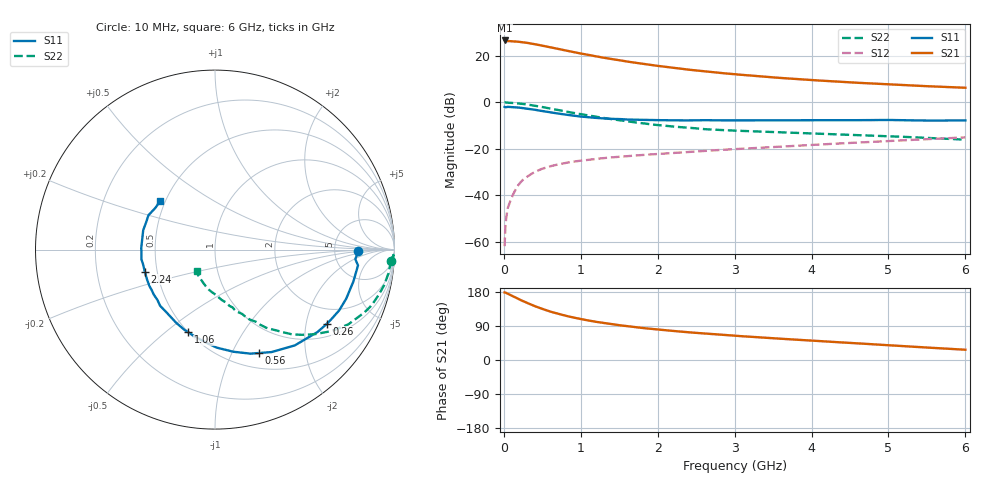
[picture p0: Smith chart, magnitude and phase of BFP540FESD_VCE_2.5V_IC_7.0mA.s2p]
! Infineon Technologies  Discrete & RF Semiconductors
! BFP540FESD
! VCE =  2.5 V,  IC =  7.0 mA
! Common Emitter S-Parameters:  Nov 2015
# GHz  S  MA  R  50
!  f  S11  S21  S12  S22
! GHz  MAG  ANG  MAG  ANG  MAG  ANG  MAG  ANG
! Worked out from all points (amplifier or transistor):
!   210 points, 10 MHz to 6 GHz, reference 50 ohm
!   highest |S21| = 26.7 dB at 10 MHz (marker M1)
!   |S21| within 3 dB of that: start of sweep to 610.5 MHz
!   unconditionally stable (mu >= 1): 2.468 GHz to end of sweep
!   at 185 MHz: K = 0.11, MSG = 31.0 dB, |S12| = -35.8 dB
!   at 1.52 GHz: K = 0.73, MSG = 20.7 dB, |S12| = -23.4 dB
!   at 6 GHz: K = 1.26, MAG = 7.6 dB, |S12| = -15.1 dB
!   S11 on the Smith chart (normalised r, x): 10 MHz: 8.93, -0.34; 260 MHz: 1.40, -2.63; 560 MHz: 0.67, -1.28; 1.06 GHz: 0.50, -0.60; 2.24 GHz: 0.43, -0.13; 6 GHz: 0.47, +0.31
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0.01  0.7989 -0.5  21.51 178.4  0.0008 77.7  0.9846 -3.6
0.02  0.7836 -3.9  20.7 178.0  0.0021 98.5  0.9952 -1.7
0.05  0.8017 -6.3  20.93 175.0  0.0052 85.2  0.9825 -4.0
0.15  0.7806 -20.5  20.57 165.0  0.013 79.6  0.9631 -11.9
0.2  0.7702 -26.1  20.08 159.8  0.0176 77.9  0.9451 -15.7
0.26  0.7474 -33.7  19.5 154.4  0.0222 74.7  0.9216 -20.2
0.3  0.7329 -38.8  19.12 150.7  0.0248 72.1  0.9023 -22.9
0.4  0.6947 -50.2  17.92 142.2  0.0316 66.8  0.8514 -29.3
0.5  0.6521 -61.1  16.7 134.6  0.0372 61.9  0.7926 -34.9
0.56  0.6259 -67.0  15.87 130.7  0.04 60.0  0.7586 -37.6
0.62  0.6045 -72.8  15.12 126.8  0.0427 58.3  0.7268 -40.4
0.8  0.5459 -89.1  13.15 116.8  0.0497 54.1  0.6375 -47.8
1.02  0.4909 -105.2  11.11 107.4  0.056 50.8  0.5496 -54.1
1.06  0.4837 -108.1  10.79 105.8  0.0571 50.2  0.5355 -55.4
1.22  0.4595 -118.7  9.616 100.1  0.0611 48.4  0.484 -59.2
1.5  0.4378 -134.3  8.035 91.8  0.0672 46.9  0.4121 -65.5
2.02  0.4136 -156.4  6.046 80.0  0.0775 45.2  0.3218 -75.8
2.24  0.4098 -162.6  5.441 76.0  0.0821 44.8  0.2975 -78.9
3.1  0.4103 177.3  3.903 62.7  0.1002 43.3  0.2426 -92.3
4.1  0.4135 163.6  2.95 50.0  0.1238 41.1  0.2113 -103.7
5.1  0.4144 151.2  2.4 37.8  0.1505 36.5  0.184 -115.0
6  0.4083 138.3  2.062 27.1  0.1757 31.2  0.1574 -129.3
